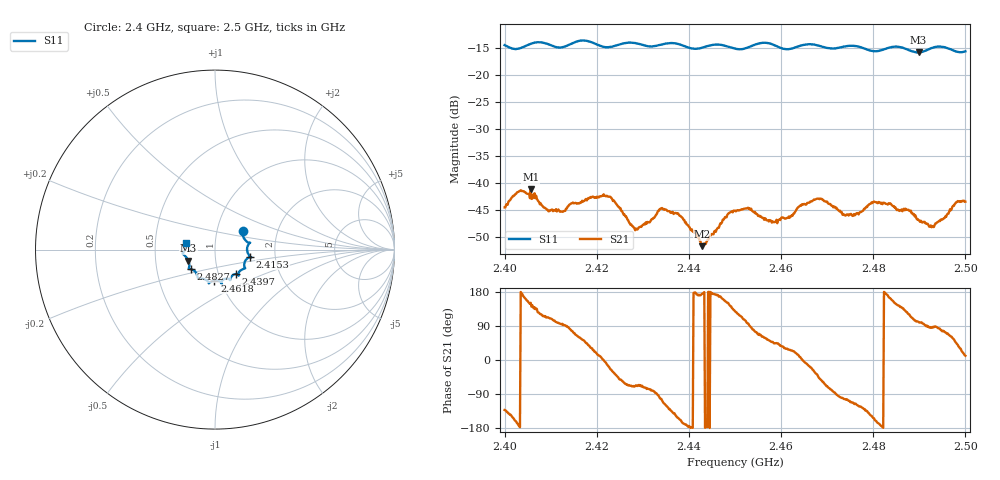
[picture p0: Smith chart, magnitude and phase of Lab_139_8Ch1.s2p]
# Hz S RI R 50
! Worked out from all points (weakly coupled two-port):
!   601 points, 2.4 GHz to 2.5 GHz, reference 50 ohm
!   highest |S21| = -41.23 dB at 2.4057 GHz (marker M1); lowest = -51.8 dB at 2.4428 GHz (marker M2)
!   lowest |S11| = -15.9 dB at 2.4898 GHz (marker M3), VSWR 1.38, Z = 36.8 - j4.62 ohm
!   |S11| at or under -10 dB: start of sweep to end of sweep
!   S12 and S22 are empty: the file has one direction only
!   S11 on the Smith chart (normalised r, x): 2.4 GHz: 1.33, +0.29; 2.4153 GHz: 1.48, -0.12; 2.4397 GHz: 1.21, -0.34; 2.4618 GHz: 0.94, -0.33; 2.4827 GHz: 0.75, -0.17; 2.5 GHz: 0.72, +0.06
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2.4e9  0.1548 0.1062  -0.00395 -0.00439  0 0  0 0
2.403167e9  0.1656 0.057  -0.00831 -0.000738  0 0  0 0
2.405667e9  0.1893 0.0383  -0.00758 0.00422  0 0  0 0
2.409667e9  0.1876 0.0303  -0.00194 0.00509  0 0  0 0
2.415333e9  0.1967 -0.039  0.00252 0.00599  0 0  0 0
2.416667e9  0.2025 -0.0431  0.00369 0.00543  0 0  0 0
2.422667e9  0.1644 -0.0723  0.00704 -0.00236  0 0  0 0
2.4285e9  0.1649 -0.105  0.00149 -0.00346  0 0  0 0
2.433333e9  0.1301 -0.1342  -0.000263 -0.00549  0 0  0 0
2.437333e9  0.1309 -0.1431  -0.0045 -0.00266  0 0  0 0
2.439667e9  0.1166 -0.1364  -0.00405 -0.00045  0 0  0 0
2.442833e9  0.0891 -0.1534  -0.00257 0.000244  0 0  0 0
2.45e9  0.0649 -0.1617  -0.00344 0.00431  0 0  0 0
2.458333e9  0.0355 -0.1861  0.00302 0.00308  0 0  0 0
2.461833e9  -0.00328 -0.1728  0.00423 0.00211  0 0  0 0
2.466667e9  -0.0346 -0.1879  0.00621 -0.00255  0 0  0 0
2.474167e9  -0.0895 -0.1605  -0.00133 -0.00488  0 0  0 0
2.482667e9  -0.1351 -0.109  -0.00636 0.000507  0 0  0 0
2.483333e9  -0.1403 -0.1084  -0.00627 0.0015  0 0  0 0
2.489833e9  -0.1485 -0.0611  -0.000821 0.00442  0 0  0 0
2.492833e9  -0.1751 -0.0275  0.000326 0.00395  0 0  0 0
2.5e9  -0.1598 0.0389  0.00655 0.00129  0 0  0 0
